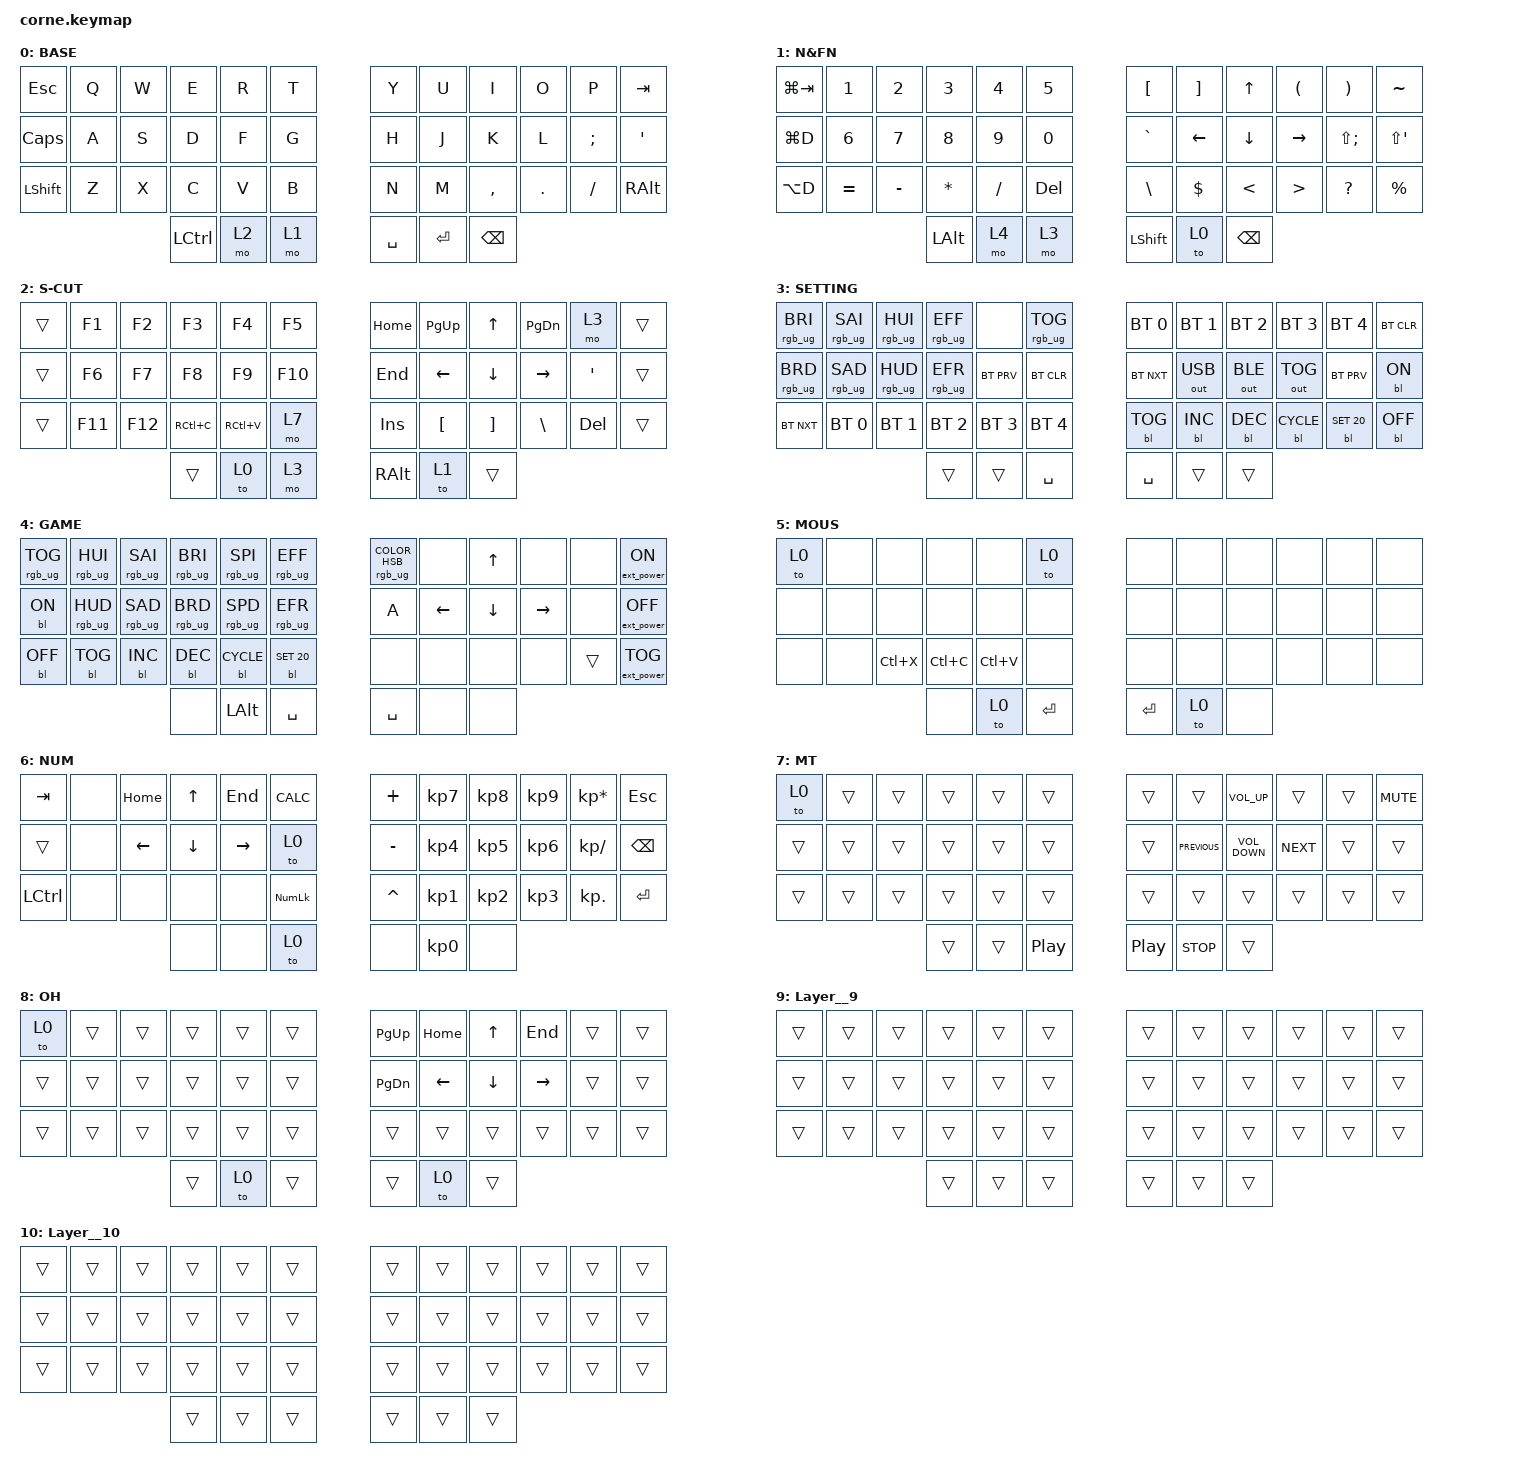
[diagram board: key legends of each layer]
#define BASE     0
#define NFN      1
#define SCUT     2
#define SETTING  3
#define GAME     4
#define MOUS     5
#define NUM      6
#define MT       7
#define OH       8

#include <behaviors.dtsi>
#include <dt-bindings/zmk/backlight.h>
#include <dt-bindings/zmk/bt.h>
#include <dt-bindings/zmk/ext_power.h>
#include <dt-bindings/zmk/keys.h>
#include <dt-bindings/zmk/outputs.h>
#include <dt-bindings/zmk/rgb.h>

/ {
    behaviors {
        hm: homerow_mods {
            compatible = "zmk,behavior-hold-tap";
            label = "HOMEROW_MODS";
            #binding-cells = <2>;
            tapping-term-ms = <150>;
            quick-tap-ms = <0>;
            flavor = "tap-preferred";
            bindings = <&kp>, <&kp>;
        };
    };

    combos { compatible = "zmk,combos"; };

    macros {
        test: test {
            compatible = "zmk,behavior-macro";
            label = "new_macro";
            #binding-cells = <0>;
            bindings = <&kp T &kp E &kp S &kp T>;
        };

        ceshi: ceshi {
            compatible = "zmk,behavior-macro";
            label = "new_macro";
            #binding-cells = <0>;
            bindings = <&kp T &kp S &kp T>;
        };
    };

    keymap {
        compatible = "zmk,keymap";

        ZERO {
            label = "BASE";
            bindings = <
&kp ESC    &kp Q  &kp W  &kp E      &kp R  &kp T    &kp Y      &kp U      &kp I          &kp O       &kp P     &kp TAB
&kp CAPS   &kp A  &kp S  &kp D      &kp F  &kp G    &kp H      &kp J      &kp K          &kp L       &kp SEMI  &kp SINGLE_QUOTE
&kp LSHFT  &kp Z  &kp X  &kp C      &kp V  &kp B    &kp N      &kp M      &kp COMMA      &kp PERIOD  &kp FSLH  &kp RALT
                         &kp LCTRL  &mo 2  &mo 1    &kp SPACE  &kp ENTER  &kp BACKSPACE
            >;
        };

        ONE {
            label = "N&FN";
            bindings = <
&kp LG(TAB)  &kp N1     &kp N2     &kp N3        &kp N4    &kp N5     &kp LBKT   &kp RBKT  &kp UP         &kp LPAR   &kp RPAR      &kp TILDE
&kp LG(D)    &kp N6     &kp N7     &kp N8        &kp N9    &kp N0     &kp GRAVE  &kp LEFT  &kp DOWN       &kp RIGHT  &kp LS(SEMI)  &kp LS(APOS)
&kp LA(D)    &kp EQUAL  &kp MINUS  &kp STAR      &kp FSLH  &kp DEL    &kp BSLH   &kp DLLR  &kp LT         &kp GT     &kp QMARK     &kp PRCNT
                                   &kp LEFT_ALT  &mo 4     &mo 3      &kp LSHFT  &to 0     &kp BACKSPACE
            >;
        };

        TWO {
            label = "S-CUT";
            bindings = <
&trans  &kp F1   &kp F2   &kp F3     &kp F4     &kp F5     &kp HOME    &kp PAGE_UP  &kp UP             &kp PAGE_DOWN  &mo 3           &trans
&trans  &kp F6   &kp F7   &kp F8     &kp F9     &kp F10    &kp END     &kp LEFT     &kp DOWN           &kp RIGHT      &kp APOSTROPHE  &trans
&trans  &kp F11  &kp F12  &kp RC(C)  &kp RC(V)  &mo 7      &kp INSERT  &kp LBKT     &kp RIGHT_BRACKET  &kp BACKSLASH  &kp DELETE      &trans
                          &trans     &to 0      &mo 3      &kp RALT    &to 1        &trans
            >;
        };

        SETTING {
            label = "SETTING";
            bindings = <
&rgb_ug RGB_BRI  &rgb_ug RGB_SAI  &rgb_ug RGB_HUI  &rgb_ug RGB_EFF  &none         &rgb_ug RGB_TOG    &bt BT_SEL 0  &bt BT_SEL 1  &bt BT_SEL 2  &bt BT_SEL 3  &bt BT_SEL 4   &bt BT_CLR
&rgb_ug RGB_BRD  &rgb_ug RGB_SAD  &rgb_ug RGB_HUD  &rgb_ug RGB_EFR  &bt BT_PRV    &bt BT_CLR         &bt BT_NXT    &out OUT_USB  &out OUT_BLE  &out OUT_TOG  &bt BT_PRV     &bl BL_ON
&bt BT_NXT       &bt BT_SEL 0     &bt BT_SEL 1     &bt BT_SEL 2     &bt BT_SEL 3  &bt BT_SEL 4       &bl BL_TOG    &bl BL_INC    &bl BL_DEC    &bl BL_CYCLE  &bl BL_SET 20  &bl BL_OFF
                                                   &trans           &trans        &kp SPACE          &kp SPACE     &trans        &trans
            >;
        };

        GAME {
            label = "GAME";
            bindings = <
&rgb_ug RGB_TOG  &rgb_ug RGB_HUI  &rgb_ug RGB_SAI  &rgb_ug RGB_BRI  &rgb_ug RGB_SPI  &rgb_ug RGB_EFF    &rgb_ug RGB_COLOR_HSB(0,0,0)  &none     &kp UP    &none      &none   &ext_power EP_ON
&bl BL_ON        &rgb_ug RGB_HUD  &rgb_ug RGB_SAD  &rgb_ug RGB_BRD  &rgb_ug RGB_SPD  &rgb_ug RGB_EFR    &kp A                         &kp LEFT  &kp DOWN  &kp RIGHT  &none   &ext_power EP_OFF
&bl BL_OFF       &bl BL_TOG       &bl BL_INC       &bl BL_DEC       &bl BL_CYCLE     &bl BL_SET 20      &none                         &none     &none     &none      &trans  &ext_power EP_TOG
                                                   &none            &kp LEFT_ALT     &kp SPACE          &kp SPACE                     &none     &none
            >;
        };

        MOUS {
            label = "MOUS";
            bindings = <
&to 0  &none  &none      &none      &none      &to 0        &none      &none  &none  &none  &none  &none
&none  &none  &none      &none      &none      &none        &none      &none  &none  &none  &none  &none
&none  &none  &kp LC(X)  &kp LC(C)  &kp LC(V)  &none        &none      &none  &none  &none  &none  &none
                         &none      &to 0      &kp ENTER    &kp ENTER  &to 0  &none
            >;
        };

        NUM {
            label = "NUM";
            bindings = <
&kp TAB    &none  &kp HOME  &kp UP    &kp END    &kp K_CALC        &kp PLUS   &kp KP_N7  &kp KP_N8  &kp KP_N9  &kp KP_MULTIPLY  &kp ESC
&trans     &none  &kp LEFT  &kp DOWN  &kp RIGHT  &to 0             &kp MINUS  &kp KP_N4  &kp KP_N5  &kp KP_N6  &kp KP_DIVIDE    &kp BACKSPACE
&kp LCTRL  &none  &none     &none     &none      &kp KP_NUMLOCK    &kp CARET  &kp KP_N1  &kp KP_N2  &kp KP_N3  &kp KP_DOT       &kp ENTER
                            &none     &none      &to 0             &none      &kp KP_N0  &none
            >;
        };

        MT {
            label = "MT";
            bindings = <
&to 0   &trans  &trans  &trans  &trans  &trans              &trans            &trans          &kp C_VOLUME_UP    &trans      &trans  &kp C_MUTE
&trans  &trans  &trans  &trans  &trans  &trans              &trans            &kp C_PREVIOUS  &kp C_VOLUME_DOWN  &kp C_NEXT  &trans  &trans
&trans  &trans  &trans  &trans  &trans  &trans              &trans            &trans          &trans             &trans      &trans  &trans
                        &trans  &trans  &kp C_PLAY_PAUSE    &kp C_PLAY_PAUSE  &kp C_STOP      &trans
            >;
        };

        OH {
            label = "OH";
            bindings = <
&to 0   &trans  &trans  &trans  &trans  &trans    &kp PG_UP  &kp HOME  &kp UP    &kp END    &trans  &trans
&trans  &trans  &trans  &trans  &trans  &trans    &kp PG_DN  &kp LEFT  &kp DOWN  &kp RIGHT  &trans  &trans
&trans  &trans  &trans  &trans  &trans  &trans    &trans     &trans    &trans    &trans     &trans  &trans
                        &trans  &to 0   &trans    &trans     &to 0     &trans
            >;
        };

        Layer__9 {
            bindings = <
&trans  &trans  &trans  &trans  &trans  &trans    &trans  &trans  &trans  &trans  &trans  &trans
&trans  &trans  &trans  &trans  &trans  &trans    &trans  &trans  &trans  &trans  &trans  &trans
&trans  &trans  &trans  &trans  &trans  &trans    &trans  &trans  &trans  &trans  &trans  &trans
                        &trans  &trans  &trans    &trans  &trans  &trans
            >;
        };

        Layer__10 {
            bindings = <
&trans  &trans  &trans  &trans  &trans  &trans    &trans  &trans  &trans  &trans  &trans  &trans
&trans  &trans  &trans  &trans  &trans  &trans    &trans  &trans  &trans  &trans  &trans  &trans
&trans  &trans  &trans  &trans  &trans  &trans    &trans  &trans  &trans  &trans  &trans  &trans
                        &trans  &trans  &trans    &trans  &trans  &trans
            >;
        };
    };
};
